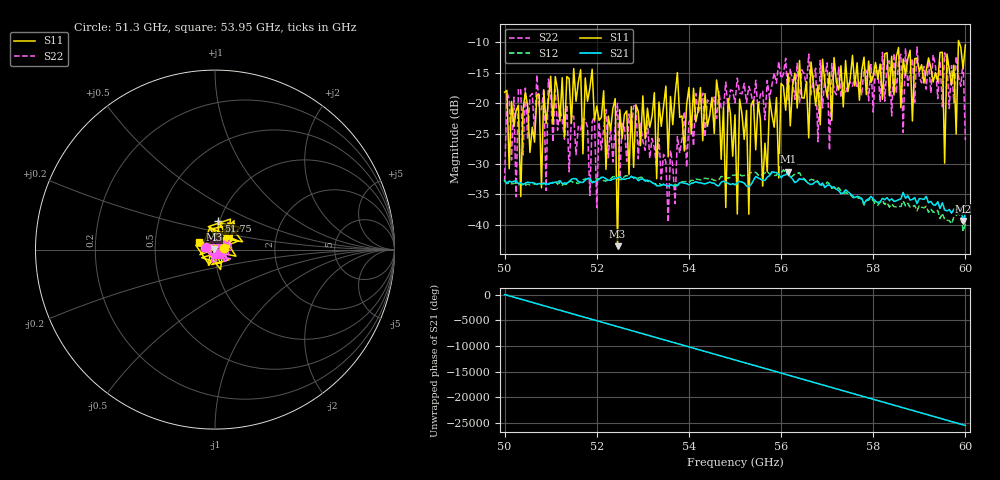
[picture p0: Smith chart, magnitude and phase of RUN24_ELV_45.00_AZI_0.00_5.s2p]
! 11/24/2026 9:52:12 AM
! C:\ANRITSUVNA\TEMP\TEMP.S2P
! CHANNEL.1
! TR.MEASUREMENT
! RAW.DATA
# HZ S RI R 50.0
! FREQ.HZ  S11RE  S11IM  S21RE  S21IM  S12RE  S12IM  S22RE  S22IM
!; PortSelection: Port_12
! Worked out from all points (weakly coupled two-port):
!   201 points, 50 GHz to 60 GHz, reference 50 ohm
!   highest |S21| = -31.23 dB at 56.15 GHz (marker M1); lowest = -39.4 dB at 59.95 GHz (marker M2)
!   lowest |S11| = -43.5 dB at 52.45 GHz (marker M3), VSWR 1.01, Z = 49.3 + j0.0603 ohm
!   |S11| at or under -10 dB: start of sweep to 59.85 GHz; 59.86505 GHz to end of sweep
!   |S22| runs from -39.6 to -10.8 dB; largest |S21 - S12| = 0.042
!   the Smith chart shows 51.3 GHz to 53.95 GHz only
!   S11 on the Smith chart (normalised r, x): 51.3 GHz: 1.11, +0.02; 51.75 GHz: 0.98, +0.32; 53.95 GHz: 0.84, +0.07
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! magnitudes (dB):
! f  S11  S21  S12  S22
! 50 GHz  -18.2  -32.7  -32.8  -32.8
! 50.35 GHz  -35.3  -33.0  -33.2  -17.8
! 50.45 GHz  -18.2  -33.2  -33.4  -17.5
! 51.3 GHz  -25.5  -33.1  -33.3  -25.9
! 51.7 GHz  -28.3  -33.0  -32.6  -22.6
! 51.75 GHz  -15.8  -32.6  -32.4  -22.7
! 52.4 GHz  -19.2  -32.4  -32.0  -23.6
! 52.45 GHz  -43.5  -32.2  -32.4  -20.0
! 52.5 GHz  -21.1  -32.1  -32.5  -32.2
! 53.35 GHz  -19.8  -33.6  -33.2  -25.8
! 53.95 GHz  -20.3  -33.2  -32.8  -30.5
! 54.6 GHz  -16.2  -33.5  -32.7  -22.5
! 54.8 GHz  -37.1  -33.0  -32.3  -16.5
! 55 GHz  -21.9  -33.4  -31.8  -19.9
! 55.3 GHz  -38.2  -33.7  -31.7  -17.2
! 55.35 GHz  -20.3  -33.3  -31.4  -18.5
! 55.95 GHz  -32.3  -31.8  -31.6  -13.1
! 56.15 GHz  -15.1  -31.2  -31.5  -19.6
! 56.7 GHz  -16.7  -33.2  -32.6  -15.9
! 58.35 GHz  -18.8  -36.0  -37.1  -13.0
! 59.95 GHz  -14.3  -39.4  -41.0  -13.0
! 60 GHz  -10.4  -38.1  -39.8  -26.0
